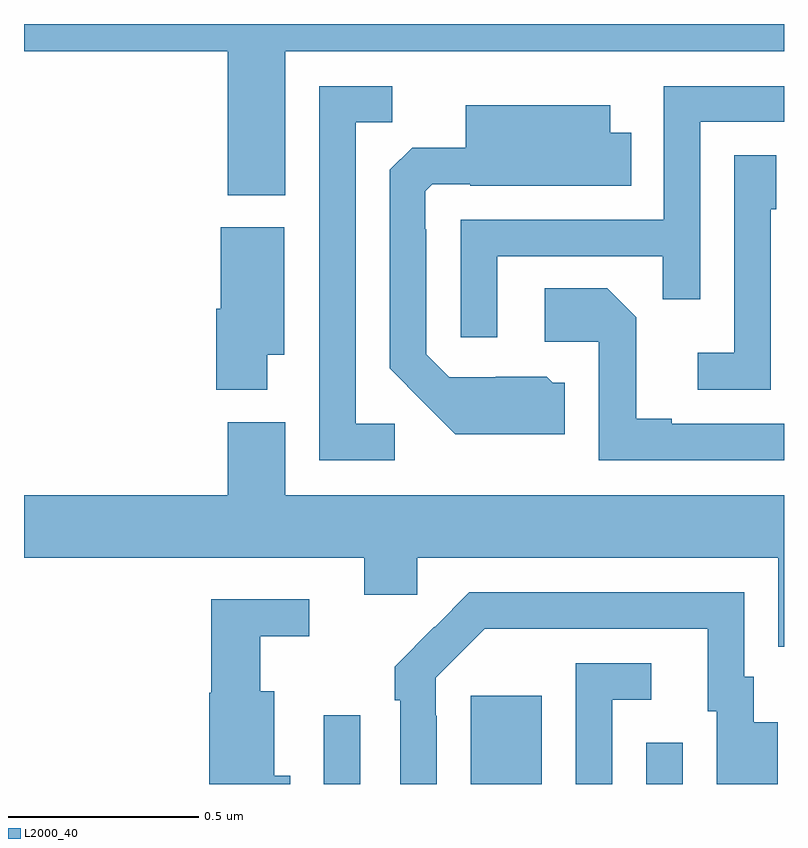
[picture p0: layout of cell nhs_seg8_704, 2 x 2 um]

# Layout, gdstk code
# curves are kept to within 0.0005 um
import gdstk
lib = gdstk.Library(unit=1e-6, precision=1e-09)
def R(c, l, rs):  # rectangles x0, y0, x1, y1
    for r in rs: c.add(gdstk.rectangle(r[:2], r[2:], *l))
def P(c, l, *ps):  # polygons
    for p in ps: c.add(gdstk.Polygon(p, *l))
L2000_40 = (2000, 40)

nhs_seg8_704 = lib.new_cell('nhs_seg8_704')
R(nhs_seg8_704, L2000_40, [(120.789,1119.9,120.885,1120.081), (121.175,1119.9,121.363,1120.132), (121.638,1119.9,121.734,1120.009)])
P(nhs_seg8_704, L2000_40, [(120.688,1121.828),(122,1121.828),(122,1121.9),(120,1121.9),(120,1121.828),(120.536,1121.828),(120.536,1121.45),(120.688,1121.45)],
  [(121.245,1121.289),(121.681,1121.289),(121.681,1121.176),(121.779,1121.176),(121.779,1121.643),(122,1121.643),(122,1121.736),(121.683,1121.736),(121.683,1121.385),(121.149,1121.385),(121.149,1121.076),(121.245,1121.076)],
  [(120.976,1120.848),(120.873,1120.848),(120.873,1121.641),(120.969,1121.641),(120.969,1121.736),(120.777,1121.736),(120.777,1120.752),(120.976,1120.752)],
  [(121.423,1120.956),(121.392,1120.956),(121.376,1120.972),(121.242,1120.972),(121.242,1120.971),(121.119,1120.971),(121.059,1121.031),(121.059,1121.36),(121.056,1121.36),(121.056,1121.46),(121.074,1121.478),(121.174,1121.478),(121.174,1121.474),(121.598,1121.474),(121.598,1121.614),(121.543,1121.614),(121.543,1121.686),(121.163,1121.686),(121.163,1121.575),(121.022,1121.575),(120.963,1121.516),(120.963,1120.994),(121.135,1120.82),(121.423,1120.82)],
  [(121.965,1121.412),(121.98,1121.412),(121.98,1121.555),(121.869,1121.555),(121.869,1121.035),(121.773,1121.035),(121.773,1120.938),(121.965,1120.938)],
  [(120.64,1121.03),(120.685,1121.03),(120.685,1121.365),(120.518,1121.365),(120.518,1121.151),(120.506,1121.151),(120.506,1120.937),(120.64,1120.937)],
  [(122,1120.848),(121.705,1120.848),(121.705,1120.861),(121.611,1120.861),(121.611,1121.128),(121.535,1121.204),(121.371,1121.204),(121.371,1121.064),(121.512,1121.064),(121.512,1120.752),(122,1120.752)],
  [(122,1120.66),(120.688,1120.66),(120.688,1120.852),(120.536,1120.852),(120.536,1120.66),(120,1120.66),(120,1120.496),(120.896,1120.496),(120.896,1120.398),(121.035,1120.398),(121.035,1120.496),(121.985,1120.496),(121.985,1120.261),(122,1120.261)],
  [(121.086,1120.079),(121.083,1120.079),(121.083,1120.179),(121.212,1120.308),(121.799,1120.308),(121.799,1120.092),(121.823,1120.092),(121.823,1119.9),(121.984,1119.9),(121.984,1120.063),(121.921,1120.063),(121.921,1120.182),(121.896,1120.182),(121.896,1120.404),(121.172,1120.404),(121.081,1120.313),(121.08,1120.314),(120.975,1120.209),(120.975,1120.121),(120.99,1120.121),(120.99,1119.9),(121.086,1119.9)],
  [(120.7,1119.922),(120.658,1119.922),(120.658,1120.144),(120.622,1120.144),(120.622,1120.289),(120.751,1120.289),(120.751,1120.386),(120.493,1120.386),(120.493,1120.14),(120.488,1120.14),(120.488,1119.9),(120.7,1119.9)],
  [(121.548,1120.122),(121.651,1120.122),(121.651,1120.218),(121.452,1120.218),(121.452,1119.9),(121.548,1119.9)])

lib.write_gds('nhs_seg8_704.gds')
